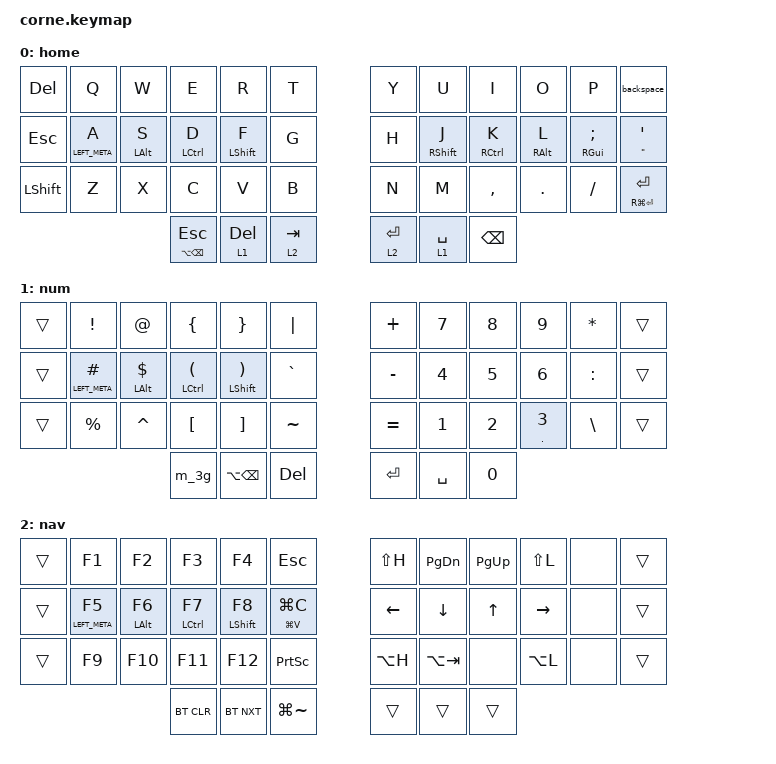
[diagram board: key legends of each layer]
#include <behaviors.dtsi>
#include <dt-bindings/zmk/bt.h>
#include <dt-bindings/zmk/keys.h>

/ {
    behaviors {
        hm: homerow_mods {
            compatible = "zmk,behavior-hold-tap";
            label = "HOMEROW_MODS";
            bindings = <&kp>, <&kp>;

            #binding-cells = <2>;
            tapping-term-ms = <200>;
            flavor = "tap-preferred";
            require-prior-idle-ms = <125>;
            quick-tap-ms = <200>;
        };

        shifthr: shifthr {
            compatible = "zmk,behavior-hold-tap";
            label = "SHIFTHR";
            bindings = <&kp>, <&kp>;

            #binding-cells = <2>;
            tapping-term-ms = <185>;
            flavor = "tap-preferred";
            quick-tap-ms = <185>;
        };

        weak: weak {
            compatible = "zmk,behavior-hold-tap";
            label = "WEAK";
            bindings = <&kp>, <&kp>;

            #binding-cells = <2>;
            tapping-term-ms = <350>;
            flavor = "tap-preferred";
            require-prior-idle-ms = <250>;
            quick-tap-ms = <350>;
        };

        backspace: backspace {
            compatible = "zmk,behavior-tap-dance";
            label = "BACKSPACE";
            #binding-cells = <0>;
            bindings = <&kp BACKSPACE>, <&kp LA(BACKSPACE)>;
        };
    };

    combos {
        compatible = "zmk,combos";

        combo_caps_word {
            bindings = <&caps_word>;
            key-positions = <16 19>;
        };

        combo_esc {
            bindings = <&kp ESCAPE>;
            key-positions = <31 32>;
        };

        combo_under {
            bindings = <&kp UNDER>;
            key-positions = <28 31>;
        };

        combo_dash {
            bindings = <&kp MINUS>;
            key-positions = <4 7>;
        };

        combo_squote {
            bindings = <&kp SINGLE_QUOTE>;
            key-positions = <20 19>;
        };

        combo_dquote {
            bindings = <&kp DOUBLE_QUOTES>;
            key-positions = <21 20>;
        };
    };

    macros {
        m_3g: m_3g {
            compatible = "zmk,behavior-macro";
            #binding-cells = <0>;
            bindings = <&kp GRAVE &kp GRAVE &kp GRAVE>;
            label = "M_3G";
        };
    };

    keymap {
        compatible = "zmk,keymap";

        home {
            // -----------------------------------------------------------------------------------------
            // |  TAB |  Q  |  W  |  E  |  R  |  T  |   |  Y  |  U   |  I  |  O  |  P  | BKSP |
            // | CTRL |  A  |  S  |  D  |  F  |  G  |   |  H  |  J   |  K  |  L  |  ;  |  '   |
            // | SHFT |  Z  |  X  |  C  |  V  |  B  |   |  N  |  M   |  ,  |  .  |  /  | ESC  |
            //                    | GUI | LWR | SPC |   | ENT | RSE  | ALT |

            bindings = <
&kp DEL         &kp Q              &kp W             &kp E                     &kp R                  &kp T        &kp Y      &kp U              &kp I             &kp O              &kp P            &backspace
&kp ESCAPE      &weak LEFT_META A  &weak LEFT_ALT S  &hm LEFT_CONTROL D   &shifthr LEFT_SHIFT F  &kp G        &kp H      &shifthr RSHIFT J  &shifthr RCTRL K  &weak RIGHT_ALT L  &weak RGUI SEMI  &hm DOUBLE_QUOTES SINGLE_QUOTE
&kp LEFT_SHIFT  &kp Z              &kp X             &kp C                     &kp V                  &kp B        &kp N      &kp M              &kp COMMA         &kp DOT            &kp SLASH        &hm RG(ENTER) ENTER
                                                     &hm LA(BACKSPACE) ESCAPE  &lt 1 DEL              &lt 2 TAB    &lt 2 RET  &lt 1 SPACE        &kp BSPC
            >;

            label = "home";
        };

        num {
            // -----------------------------------------------------------------------------------------
            // |  TAB |  !  |  @  |  #  |  $  |  %  |   |  ^  |  &  |  *  |  (  |  )  | BKSP |
            // | CTRL |     |     |     |     |     |   |  -  |  =  |  [  |  ]  |  \  |  `   |
            // | SHFT |     |     |     |     |     |   |  _  |  +  |  {  |  }  | "|" |  ~   |
            //                    | GUI |     | SPC |   | ENT |     | ALT |

            bindings = <
&trans  &kp EXCL            &kp AT               &kp LEFT_BRACE              &kp RIGHT_BRACE                   &kp PIPE     &kp PLUS   &kp NUMBER_7  &kp N8        &kp N9                    &kp ASTERISK   &trans
&trans  &hm LEFT_META HASH  &hm LEFT_ALT DOLLAR  &hm LCTRL LEFT_PARENTHESIS  &hm LEFT_SHIFT RIGHT_PARENTHESIS  &kp GRAVE    &kp MINUS  &kp NUMBER_4  &kp NUMBER_5  &kp NUMBER_6              &kp COLON      &trans
&trans  &kp PERCENT         &kp CARET            &kp LEFT_BRACKET            &kp RIGHT_BRACKET                 &kp TILDE    &kp EQUAL  &kp NUMBER_1  &kp NUMBER_2  &hm PERIOD NUMBER_3  &kp BACKSLASH  &trans
                                                 &m_3g                       &kp LA(BACKSPACE)                 &kp DEL      &kp RET    &kp SPACE     &kp N0
            >;

            label = "num";
        };

        nav {
            bindings = <
&trans  &kp F1            &kp F2           &kp F3        &kp F4             &kp ESC            &kp LS(H)       &kp PAGE_DOWN  &kp PG_UP     &kp LS(L)  &none  &trans
&trans  &hm LEFT_META F5  &hm LEFT_ALT F6  &hm LCTRL F7  &hm LEFT_SHIFT F8  &hm LG(V) LG(C)    &kp LEFT_ARROW  &kp DOWN       &kp UP_ARROW  &kp RIGHT  &none  &trans
&trans  &kp F9            &kp F10          &kp F11       &kp F12            &kp PSCRN          &kp LA(H)       &kp LA(TAB)    &none         &kp LA(L)  &none  &trans
                                           &bt BT_CLR    &bt BT_NXT         &kp LG(TILDE)      &trans          &trans         &trans
            >;

            label = "nav";
        };
    };
};
